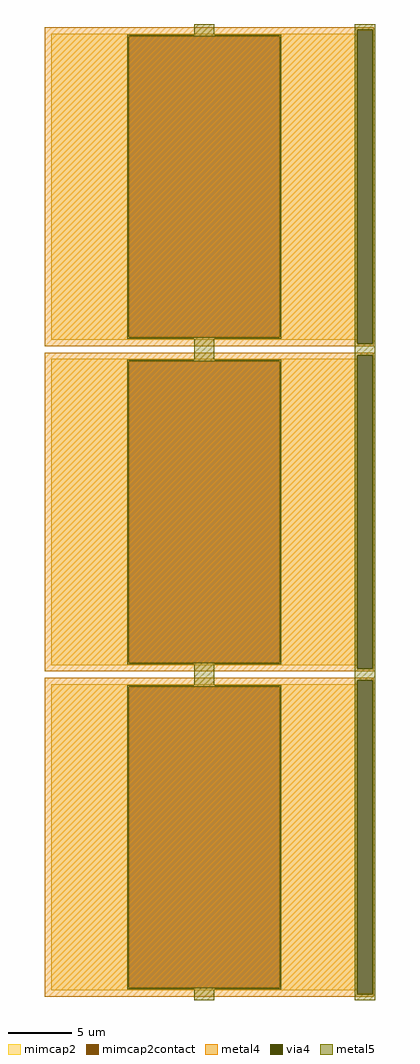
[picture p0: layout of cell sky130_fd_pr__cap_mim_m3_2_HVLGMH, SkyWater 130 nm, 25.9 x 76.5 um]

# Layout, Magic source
magic
tech sky130A
magscale 1 2
<< metal4 >>
rect -2579 7559 2579 7600
rect -2579 2641 2323 7559
rect 2559 2641 2579 7559
rect -2579 2600 2579 2641
rect -2579 2459 2579 2500
rect -2579 -2459 2323 2459
rect 2559 -2459 2579 2459
rect -2579 -2500 2579 -2459
rect -2579 -2641 2579 -2600
rect -2579 -7559 2323 -2641
rect 2559 -7559 2579 -2641
rect -2579 -7600 2579 -7559
<< via4 >>
rect 2323 2641 2559 7559
rect 2323 -2459 2559 2459
rect 2323 -7559 2559 -2641
<< mimcap2 >>
rect -2479 7460 2321 7500
rect -2479 2740 -1259 7460
rect 1101 2740 2321 7460
rect -2479 2700 2321 2740
rect -2479 2360 2321 2400
rect -2479 -2360 -1259 2360
rect 1101 -2360 2321 2360
rect -2479 -2400 2321 -2360
rect -2479 -2740 2321 -2700
rect -2479 -7460 -1259 -2740
rect 1101 -7460 2321 -2740
rect -2479 -7500 2321 -7460
<< mimcap2contact >>
rect -1259 2740 1101 7460
rect -1259 -2360 1101 2360
rect -1259 -7460 1101 -2740
<< metal5 >>
rect -239 7484 81 7650
rect 2281 7559 2601 7650
rect -1283 7460 1125 7484
rect -1283 2740 -1259 7460
rect 1101 2740 1125 7460
rect -1283 2716 1125 2740
rect -239 2384 81 2716
rect 2281 2641 2323 7559
rect 2559 2641 2601 7559
rect 2281 2459 2601 2641
rect -1283 2360 1125 2384
rect -1283 -2360 -1259 2360
rect 1101 -2360 1125 2360
rect -1283 -2384 1125 -2360
rect -239 -2716 81 -2384
rect 2281 -2459 2323 2459
rect 2559 -2459 2601 2459
rect 2281 -2641 2601 -2459
rect -1283 -2740 1125 -2716
rect -1283 -7460 -1259 -2740
rect 1101 -7460 1125 -2740
rect -1283 -7484 1125 -7460
rect -239 -7650 81 -7484
rect 2281 -7559 2323 -2641
rect 2559 -7559 2601 -2641
rect 2281 -7650 2601 -7559
<< properties >>
string gencell sky130_fd_pr__cap_mim_m3_2
string FIXED_BBOX -2579 2600 2421 7600
string parameters w 24.0 l 24.0 val 1.17k carea 2.00 cperi 0.19 nx 1 ny 3 dummy 0 square 0 lmin 2.00 wmin 2.00 lmax 30.0 wmax 30.0 dc 0 bconnect 1 tconnect 1 ccov 50
string library sky130
<< end >>
